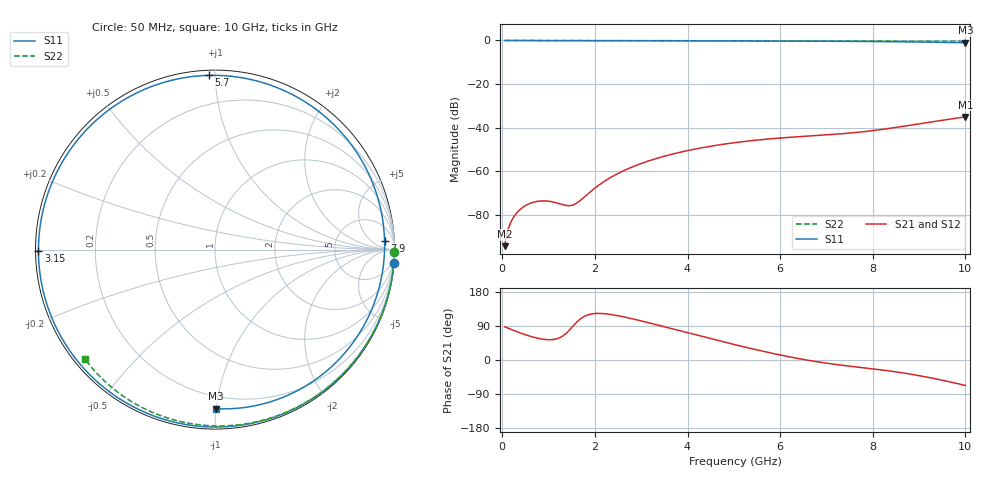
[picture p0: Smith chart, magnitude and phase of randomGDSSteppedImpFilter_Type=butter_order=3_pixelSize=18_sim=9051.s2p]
! freq	dB(S11)	phase(S11)	dB(S12)	phase(S12)
!  dB(S21)	phase(S21)	dB(S22)	phase(S22)
!S-par simulation data
#  GHz  S  DB  R 50
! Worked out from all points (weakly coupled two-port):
!   200 points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, 50 MHz to 10 GHz, reference 50 ohm
!   highest |S21| = -35.07 dB at 10 GHz (marker M1); lowest = -94.4 dB at 50 MHz (marker M2)
!   lowest |S11| = -1.1 dB at 10 GHz (marker M3), VSWR 16.56, Z = 6.05 - j49.9 ohm
!   |S11| at or under -10 dB: nowhere
!   |S22| runs from -0.5 to 0.0 dB; largest |S21 - S12| = 0
!   S11 on the Smith chart (normalised r, x): 50 MHz: 0, -27; 3.15 GHz: 0.01, -0.00; 5.7 GHz: 0.03, +0.97; 7.9 GHz: 19, +18; 10 GHz: 0.12, -1.00
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0.05  -0.00 -4.2  -94.42 87.7  -94.42 87.7  -0.00 -0.8
0.25  -0.03 -20.7  -80.89 77.8  -80.89 77.8  -0.01 -4.0
0.5  -0.05 -40.7  -75.81 66.7  -75.81 66.7  -0.01 -8.1
0.85  -0.08 -66.7  -73.66 55.4  -73.66 55.4  -0.02 -13.7
1.15  -0.10 -86.7  -74.43 55.3  -74.43 55.3  -0.02 -18.4
1.45  -0.11 -104.6  -75.82 78.9  -75.82 78.9  -0.03 -23.2
1.75  -0.11 -120.7  -72.27 113.7  -72.27 113.7  -0.04 -27.9
2.4  -0.13 -150.5  -62.16 119.0  -62.16 119.0  -0.05 -38.0
3.15  -0.14 -179.5  -55.36 98.6  -55.36 98.6  -0.06 -49.3
3.4  -0.15 171.6  -53.72 90.8  -53.72 90.8  -0.07 -53.1
4.2  -0.18 144.1  -49.69 65.6  -49.69 65.6  -0.09 -64.7
5.05  -0.22 115.1  -46.82 39.6  -46.82 39.6  -0.12 -76.7
5.7  -0.25 91.9  -45.32 21.1  -45.32 21.1  -0.14 -85.6
6.2  -0.29 73.2  -44.46 8.3  -44.46 8.3  -0.17 -92.2
6.7  -0.33 53.5  -43.75 -2.7  -43.75 -2.7  -0.19 -98.8
7.35  -0.40 26.7  -42.79 -14.0  -42.79 -14.0  -0.23 -107.1
7.9  -0.48 3.0  -41.64 -21.9  -41.64 -21.9  -0.27 -114.0
8.35  -0.57 -16.8  -40.39 -28.7  -40.39 -28.7  -0.31 -119.6
8.75  -0.66 -34.6  -39.11 -36.0  -39.11 -36.0  -0.34 -124.5
9.2  -0.78 -54.5  -37.61 -45.9  -37.61 -45.9  -0.39 -130.0
9.6  -0.91 -72.1  -36.31 -56.0  -36.31 -56.0  -0.43 -134.9
10  -1.05 -89.7  -35.07 -67.2  -35.07 -67.2  -0.47 -139.8
